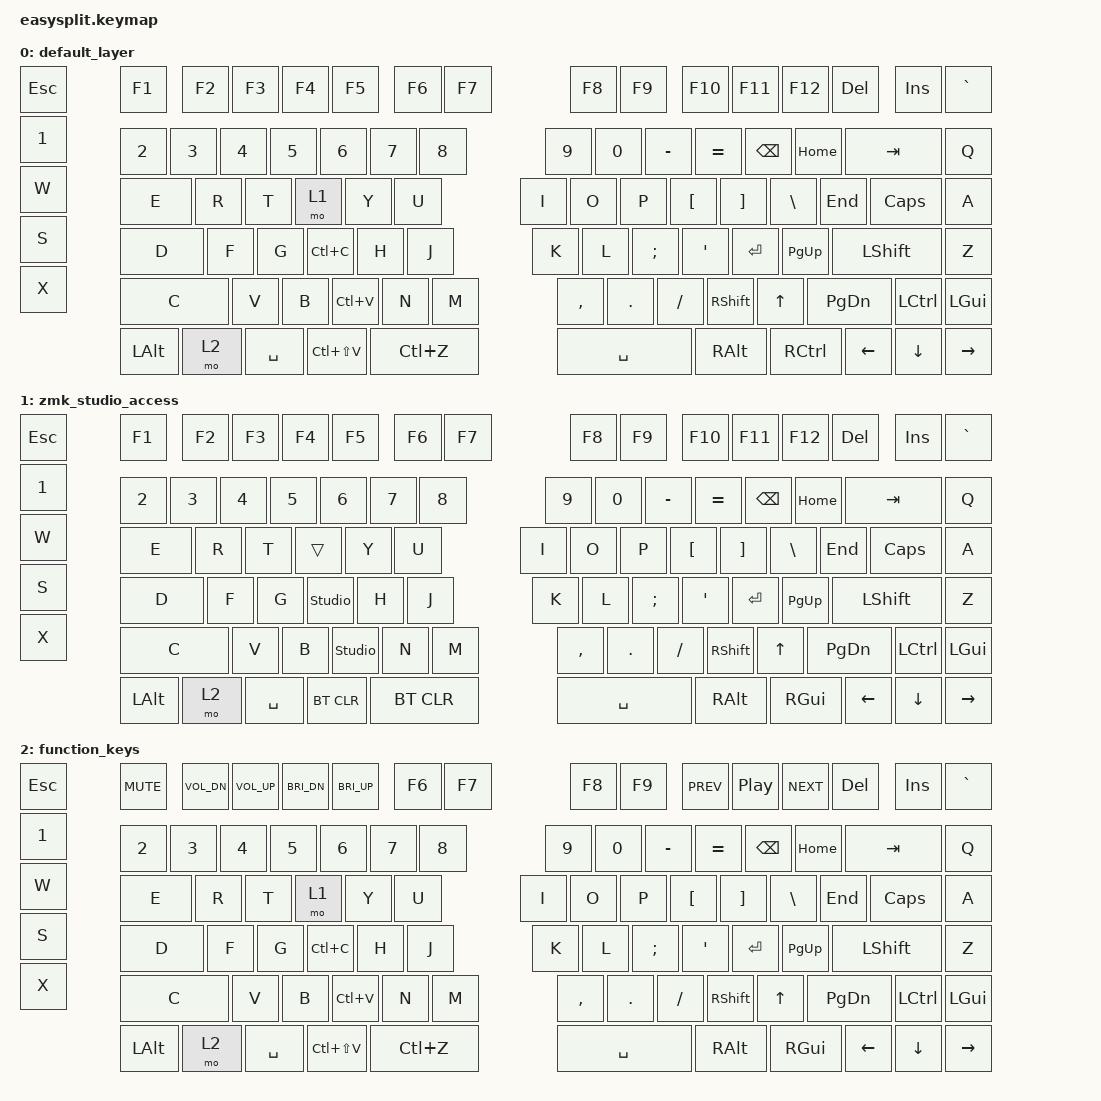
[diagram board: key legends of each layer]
// This file was generated from a template. Edit it to match your keyboard.
// See https://zmk.dev/docs/development/hardware-integration/new-shield for more instructions.

#include <behaviors.dtsi>
#include <dt-bindings/zmk/keys.h>
#include <dt-bindings/zmk/bt.h>

/ {
    // Define a default keymap here.
    // See https://zmk.dev/docs/development/hardware-integration/new-shield#default-keymap.
    keymap {
        compatible = "zmk,keymap";

        default_layer {
            bindings = <
                &kp ESC &kp F1 &kp F2 &kp F3 &kp F4 &kp F5 &kp F6    &kp F7 &kp F8 &kp F9 &kp F10 &kp F11 &kp F12 &kp DEL &kp INS
                &kp GRAVE &kp N1 &kp N2 &kp N3 &kp N4 &kp N5 &kp N6    &kp N7 &kp N8 &kp N9 &kp N0 &kp MINUS &kp EQUAL &kp BSPC &kp HOME
                &kp TAB &kp Q &kp W &kp E &kp R &kp T &mo 1     &kp Y &kp U &kp I &kp O &kp P &kp LBKT &kp RBKT &kp BSLH &kp END
                &kp CAPS &kp A &kp S &kp D &kp F &kp G &kp LC(C)    &kp H &kp J &kp K &kp L &kp SEMI &kp SQT &kp ENTER &kp PG_UP
                &kp LSHIFT &kp Z &kp X &kp C &kp V &kp B &kp LC(V)    &kp N &kp M &kp COMMA &kp PERIOD &kp SLASH &kp RSHIFT &kp UP &kp PG_DN
                &kp LCTRL &kp LGUI &kp LALT &mo 2 &kp SPACE &kp LC(LS(V)) &kp LC(Z)    &kp SPACE &kp RALT &kp RCTRL &kp LEFT &kp DOWN &kp RIGHT 
            >;
        };
        zmk_studio_access {
            bindings = <
                &kp ESC &kp F1 &kp F2 &kp F3 &kp F4 &kp F5 &kp F6    &kp F7 &kp F8 &kp F9 &kp F10 &kp F11 &kp F12 &kp DEL &kp INS
                &kp GRAVE &kp N1 &kp N2 &kp N3 &kp N4 &kp N5 &kp N6    &kp N7 &kp N8 &kp N9 &kp N0 &kp MINUS &kp EQUAL &kp BSPC &kp HOME
                &kp TAB &kp Q &kp W &kp E &kp R &kp T &trans     &kp Y &kp U &kp I &kp O &kp P &kp LBKT &kp RBKT &kp BSLH &kp END
                &kp CAPS &kp A &kp S &kp D &kp F &kp G &studio_unlock    &kp H &kp J &kp K &kp L &kp SEMI &kp SQT &kp ENTER &kp PG_UP
                &kp LSHIFT &kp Z &kp X &kp C &kp V &kp B &studio_unlock    &kp N &kp M &kp COMMA &kp PERIOD &kp SLASH &kp RSHIFT &kp UP &kp PG_DN
                &kp LCTRL &kp LGUI &kp LALT &mo 2 &kp SPACE &bt BT_CLR &bt BT_CLR    &kp SPACE &kp RALT &kp RGUI &kp LEFT &kp DOWN &kp RIGHT 
            >;
        };
        function_keys {
            bindings = <
                &kp ESC &kp C_MUTE &kp C_VOL_DN &kp C_VOL_UP &kp C_BRI_DN &kp C_BRI_UP &kp F6    &kp F7 &kp F8 &kp F9 &kp C_PREV &kp C_PLAY_PAUSE &kp C_NEXT &kp DEL &kp INS
                &kp GRAVE &kp N1 &kp N2 &kp N3 &kp N4 &kp N5 &kp N6    &kp N7 &kp N8 &kp N9 &kp N0 &kp MINUS &kp EQUAL &kp BSPC &kp HOME
                &kp TAB &kp Q &kp W &kp E &kp R &kp T &mo 1     &kp Y &kp U &kp I &kp O &kp P &kp LBKT &kp RBKT &kp BSLH &kp END
                &kp CAPS &kp A &kp S &kp D &kp F &kp G &kp LC(C)    &kp H &kp J &kp K &kp L &kp SEMI &kp SQT &kp ENTER &kp PG_UP
                &kp LSHIFT &kp Z &kp X &kp C &kp V &kp B &kp LC(V)    &kp N &kp M &kp COMMA &kp PERIOD &kp SLASH &kp RSHIFT &kp UP &kp PG_DN
                &kp LCTRL &kp LGUI &kp LALT &mo 2 &kp SPACE &kp LC(LS(V)) &kp LC(Z)    &kp SPACE &kp RALT &kp RGUI &kp LEFT &kp DOWN &kp RIGHT 
            >;
        };
    };
};
